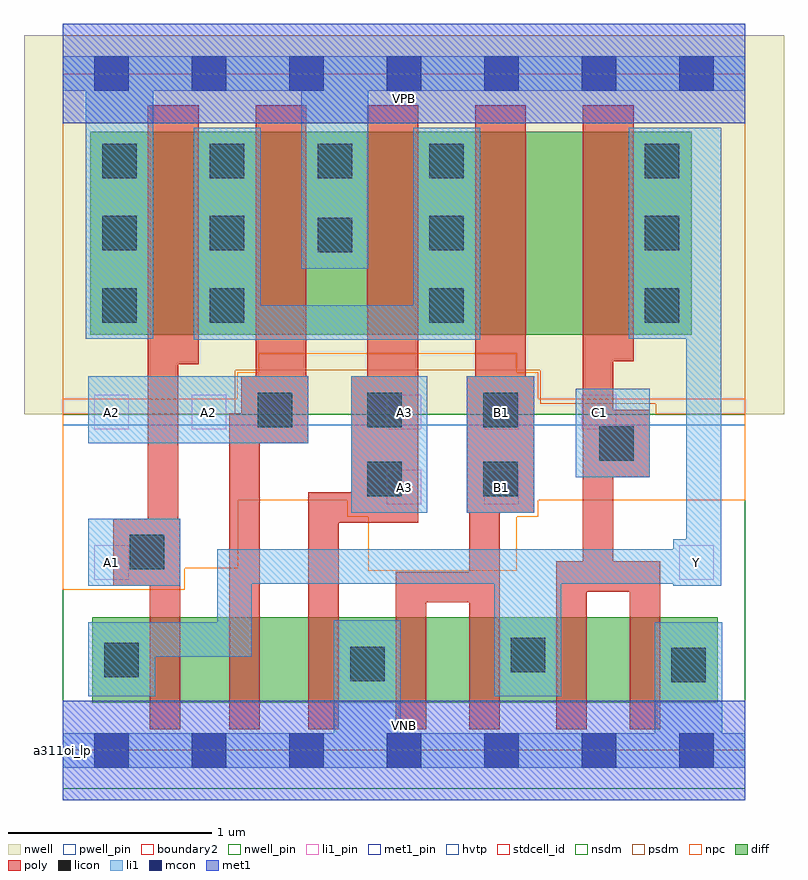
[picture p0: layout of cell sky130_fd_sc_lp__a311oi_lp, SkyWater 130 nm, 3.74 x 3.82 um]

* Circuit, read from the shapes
.subckt sky130_fd_sc_lp__a311oi_lp A1 A2 A3 B1 C1 VGND VNB VPB VPWR Y
XM1 n1 A1 Y VNB sky130_fd_pr__nfet_01v8 w=0.42 l=0.15
XM2 n2 A2 n1 VNB sky130_fd_pr__nfet_01v8 w=0.42 l=0.15
XM3 VGND A3 n2 VNB sky130_fd_pr__nfet_01v8 w=0.42 l=0.15
XM4 n3 B1 VGND VNB sky130_fd_pr__nfet_01v8 w=0.42 l=0.15
XM5 Y B1 n3 VNB sky130_fd_pr__nfet_01v8 w=0.42 l=0.15
XM6 n4 C1 Y VNB sky130_fd_pr__nfet_01v8 w=0.42 l=0.15
XM7 VGND C1 n4 VNB sky130_fd_pr__nfet_01v8 w=0.42 l=0.15
XM8 n5 A1 VPWR VPB sky130_fd_pr__pfet_01v8_hvt w=1 l=0.25
XM9 VPWR A2 n5 VPB sky130_fd_pr__pfet_01v8_hvt w=1 l=0.25
XM10 n5 A3 VPWR VPB sky130_fd_pr__pfet_01v8_hvt w=1 l=0.25
XM11 n6 B1 n5 VPB sky130_fd_pr__pfet_01v8_hvt w=1 l=0.25
XM12 Y C1 n6 VPB sky130_fd_pr__pfet_01v8_hvt w=1 l=0.25
.ends

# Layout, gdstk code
import gdstk
lib = gdstk.Library(unit=1e-6, precision=1e-09)
def R(c, l, rs):  # rectangles x0, y0, x1, y1
    for r in rs: c.add(gdstk.rectangle(r[:2], r[2:], *l))
def A(c, l, x, y, w, h, nx, ny, dx, dy):  # array of equal rectangles
    R(c, l, [(x+i*dx, y+j*dy, x+i*dx+w, y+j*dy+h) for i in range(nx) for j in range(ny)])
def P(c, l, *ps):  # polygons
    for p in ps: c.add(gdstk.Polygon(p, *l))
nwell_pin = (64, 16)
nwell = (64, 20)
diff = (65, 20)
poly = (66, 20)
licon = (66, 44)
li1_pin = (67, 16)
li1 = (67, 20)
mcon = (67, 44)
met1_pin = (68, 16)
met1 = (68, 20)
hvtp = (78, 44)
stdcell_id = (81, 4)
nsdm = (93, 44)
psdm = (94, 20)
npc = (95, 20)
pwell_pin = (122, 16)
boundary2 = (236, 0)

sky130_fd_sc_lp__a311oi_ = lib.new_cell('sky130_fd_sc_lp__a311oi_lp')
R(sky130_fd_sc_lp__a311oi_, nwell_pin, [(0,3.085,3.36,3.33)])
R(sky130_fd_sc_lp__a311oi_, nwell, [(-0.19,1.655,3.55,3.52)])
R(sky130_fd_sc_lp__a311oi_, diff, [(0.145,0.235,3.225,0.655), (0.135,2.045,3.095,3.045)])
P(sky130_fd_sc_lp__a311oi_, poly, [(0.67,3.175),(0.42,3.175),(0.42,1.14),(0.25,1.14),(0.25,0.81),(0.43,0.81),(0.43,0.105),(0.58,0.105),(0.58,1.14),(0.57,1.14),(0.57,1.9),(0.67,1.9)],
  [(1.21,1.84),(1.2,1.84),(1.2,3.175),(0.95,3.175),(0.95,1.84),(0.88,1.84),(0.88,1.66),(0.82,1.66),(0.82,0.105),(0.97,0.105),(0.97,1.51),(1.21,1.51)],
  [(1.75,3.175),(1.5,3.175),(1.5,1.84),(1.42,1.84),(1.42,1.27),(1.21,1.27),(1.21,0.105),(1.36,0.105),(1.36,1.12),(1.75,1.12)],
  [(2.32,1.84),(2.28,1.84),(2.28,3.175),(2.03,3.175),(2.03,1.84),(1.99,1.84),(1.99,1.17),(2,1.17),(2,0.88),(1.64,0.88),(1.64,0.105),(1.79,0.105),(1.79,0.73),(2,0.73),(2,0.105),(2.15,0.105),(2.15,1.17),(2.32,1.17)],
  [(2.94,0.93),(2.71,0.93),(2.71,1.345),(2.89,1.345),(2.89,1.675),(2.71,1.675),(2.71,1.915),(2.81,1.915),(2.81,3.175),(2.56,3.175),(2.56,0.93),(2.43,0.93),(2.43,0.105),(2.58,0.105),(2.58,0.78),(2.79,0.78),(2.79,0.105),(2.94,0.105)])
A(sky130_fd_sc_lp__a311oi_, licon, 1.805, 2.105, 0.17, 0.17, 1, 3, 0, 0.355)
A(sky130_fd_sc_lp__a311oi_, licon, 2.865, 2.105, 0.17, 0.17, 1, 3, 0, 0.355)
A(sky130_fd_sc_lp__a311oi_, licon, 0.195, 2.815, 0.17, 0.17, 3, 1, 0.53, 0)
R(sky130_fd_sc_lp__a311oi_, licon, [(2.995,0.335,3.165,0.505), (1.415,0.34,1.585,0.51), (0.205,0.36,0.375,0.53), (2.205,0.385,2.375,0.555), (0.33,0.89,0.5,1.06), (1.5,1.25,1.67,1.42), (2.07,1.25,2.24,1.42), (2.64,1.425,2.81,1.595), (0.96,1.59,1.13,1.76), (1.5,1.59,1.67,1.76), (2.07,1.59,2.24,1.76), (0.195,2.105,0.365,2.275), (0.725,2.105,0.895,2.275), (1.255,2.45,1.425,2.62), (0.195,2.46,0.365,2.63), (0.725,2.46,0.895,2.63)])
A(sky130_fd_sc_lp__a311oi_, li1_pin, 1.595, 1.58, 0.17, 0.17, 3, 1, 0.48, 0)
R(sky130_fd_sc_lp__a311oi_, li1_pin, [(0.155,0.84,0.325,1.01), (3.035,0.84,3.205,1.01), (1.595,1.21,1.765,1.38), (2.075,1.21,2.245,1.38), (0.155,1.58,0.325,1.75), (0.635,1.58,0.805,1.75)])
R(sky130_fd_sc_lp__a311oi_, li1, [(0.125,0.81,0.58,1.14), (1.42,1.17,1.795,1.84), (1.99,1.17,2.32,1.84), (2.525,1.345,2.89,1.78), (0.125,1.51,1.21,1.84)])
P(sky130_fd_sc_lp__a311oi_, li1, [(0.115,2.025),(0.115,3.245),(0,3.245),(0,3.415),(3.36,3.415),(3.36,3.245),(1.505,3.245),(1.505,2.37),(1.175,2.37),(1.175,3.245),(0.445,3.245),(0.445,2.025)],
  [(2.915,0.085),(2.915,0.63),(3.245,0.63),(3.245,0.085),(3.36,0.085),(3.36,-0.085),(0,-0.085),(0,0.085),(1.335,0.085),(1.335,0.64),(1.665,0.64),(1.665,0.085)],
  [(0.76,0.99),(3.005,0.99),(3.005,1.04),(3.07,1.04),(3.07,2.025),(2.785,2.025),(2.785,3.065),(3.24,3.065),(3.24,0.81),(3.005,0.81),(3.005,0.82),(2.455,0.82),(2.455,0.265),(2.125,0.265),(2.125,0.82),(0.93,0.82),(0.93,0.46),(0.455,0.46),(0.455,0.265),(0.125,0.265),(0.125,0.63),(0.76,0.63)],
  [(1.725,2.19),(1.725,3.065),(2.055,3.065),(2.055,2.02),(0.645,2.02),(0.645,3.065),(0.975,3.065),(0.975,2.19)])
A(sky130_fd_sc_lp__a311oi_, mcon, 0.155, -0.085, 0.17, 0.17, 7, 2, 0.48, 3.33)
R(sky130_fd_sc_lp__a311oi_, met1_pin, [(0,0,3.36,0.245), (0,3.085,3.36,3.33)])
R(sky130_fd_sc_lp__a311oi_, met1, [(0,-0.245,3.36,0.245), (0,3.085,3.36,3.575)])
R(sky130_fd_sc_lp__a311oi_, hvtp, [(0,1.6,3.36,3.33)])
R(sky130_fd_sc_lp__a311oi_, stdcell_id, [(0,0,3.36,3.33)])
R(sky130_fd_sc_lp__a311oi_, nsdm, [(0,-0.19,3.36,1.655)])
P(sky130_fd_sc_lp__a311oi_, psdm, [(3.36,3.52),(0,3.52),(0,1.655),(0.85,1.655),(0.85,1.87),(2.35,1.87),(2.35,1.705),(2.92,1.705),(2.92,1.655),(3.36,1.655)])
P(sky130_fd_sc_lp__a311oi_, npc, [(3.36,1.73),(2.34,1.73),(2.34,1.86),(2.235,1.86),(2.235,1.955),(0.965,1.955),(0.965,1.86),(0.86,1.86),(0.86,1.73),(0,1.73),(0,0.79),(0.6,0.79),(0.6,0.895),(0.865,0.895),(0.865,1.23),(1.4,1.23),(1.4,1.15),(1.505,1.15),(1.505,0.885),(2.235,0.885),(2.235,1.15),(2.34,1.15),(2.34,1.23),(3.36,1.23)])
R(sky130_fd_sc_lp__a311oi_, pwell_pin, [(0,0,3.36,0.245)])
R(sky130_fd_sc_lp__a311oi_, boundary2, [(0,0,3.36,3.33)])
sky130_fd_sc_lp__a311oi_.add(gdstk.Label('VNB', (1.68,0.123), layer=64, texttype=59))
sky130_fd_sc_lp__a311oi_.add(gdstk.Label('VPB', (1.68,3.208), layer=64, texttype=5))
sky130_fd_sc_lp__a311oi_.add(gdstk.Label('a311oi_lp', (0,0), layer=83, texttype=44))
sky130_fd_sc_lp__a311oi_.add(gdstk.Label('VPWR', (1.68,3.208), layer=68, texttype=5))
sky130_fd_sc_lp__a311oi_.add(gdstk.Label('VGND', (1.68,0.123), layer=68, texttype=5))
sky130_fd_sc_lp__a311oi_.add(gdstk.Label('C1', (2.64,1.665), layer=67, texttype=5))
sky130_fd_sc_lp__a311oi_.add(gdstk.Label('B1', (2.16,1.295), layer=67, texttype=5))
sky130_fd_sc_lp__a311oi_.add(gdstk.Label('B1', (2.16,1.665), layer=67, texttype=5))
sky130_fd_sc_lp__a311oi_.add(gdstk.Label('A3', (1.68,1.295), layer=67, texttype=5))
sky130_fd_sc_lp__a311oi_.add(gdstk.Label('A3', (1.68,1.665), layer=67, texttype=5))
sky130_fd_sc_lp__a311oi_.add(gdstk.Label('A2', (0.24,1.665), layer=67, texttype=5))
sky130_fd_sc_lp__a311oi_.add(gdstk.Label('A2', (0.72,1.665), layer=67, texttype=5))
sky130_fd_sc_lp__a311oi_.add(gdstk.Label('A1', (0.24,0.925), layer=67, texttype=5))
sky130_fd_sc_lp__a311oi_.add(gdstk.Label('Y', (3.12,0.925), layer=67, texttype=5))

lib.write_gds('sky130_fd_sc_lp__a311oi_lp.gds')
